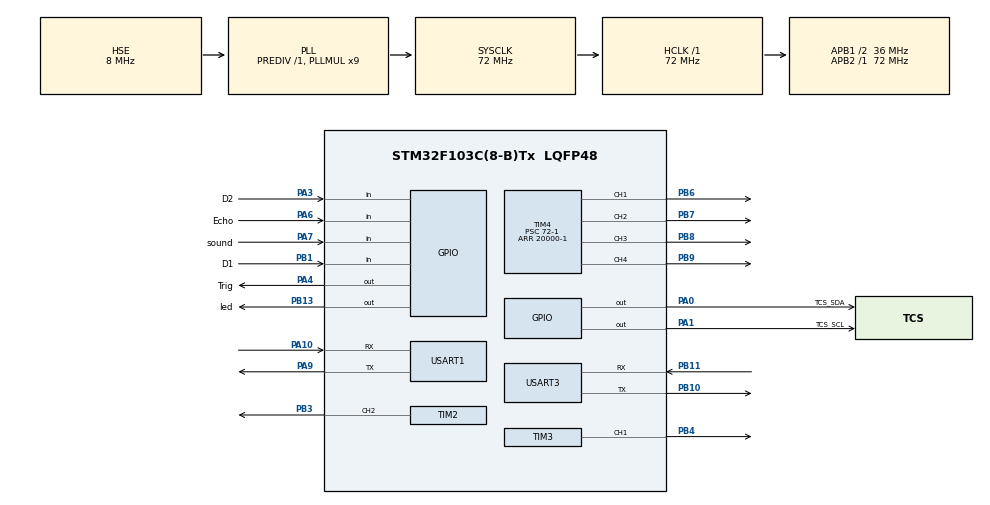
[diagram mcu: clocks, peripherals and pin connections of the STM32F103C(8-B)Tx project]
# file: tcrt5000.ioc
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Mcu.Family=STM32F1
Mcu.Name=STM32F103C(8-B)Tx
Mcu.Package=LQFP48
NVIC.PriorityGroup=NVIC_PRIORITYGROUP_4
NVIC.USART1_IRQn=true\:0\:0\:false\:false\:true\:true\:true
NVIC.USART3_IRQn=true\:0\:0\:false\:false\:true\:true\:true
PA0-WKUP.GPIO_Label=TCS_SDA
PA0-WKUP.GPIO_ModeDefaultOutputPP=GPIO_MODE_OUTPUT_PP
PA0-WKUP.GPIO_PuPd=GPIO_NOPULL
PA0-WKUP.GPIO_Speed=GPIO_SPEED_FREQ_HIGH
PA0-WKUP.PinState=GPIO_PIN_SET
PA0-WKUP.Signal=GPIO_Output
PA1.GPIO_Label=TCS_SCL
PA1.GPIO_ModeDefaultOutputPP=GPIO_MODE_OUTPUT_PP
PA1.GPIO_PuPd=GPIO_NOPULL
PA1.GPIO_Speed=GPIO_SPEED_FREQ_HIGH
PA1.PinState=GPIO_PIN_SET
PA1.Signal=GPIO_Output
PA10.Mode=Asynchronous
PA10.Signal=USART1_RX
PA3.GPIO_Label=D2
PA3.Signal=GPIO_Input
PA4.GPIO_Label=Trig
PA4.GPIO_PuPd=GPIO_PULLUP
PA4.Signal=GPIO_Output
PA6.GPIO_Label=Echo
PA6.Signal=GPIO_Input
PA7.GPIO_Label=sound
PA7.Signal=GPIO_Input
PA9.Mode=Asynchronous
PA9.Signal=USART1_TX
PB1.GPIO_Label=D1
PB1.Signal=GPIO_Input
PB10.Mode=Asynchronous
PB10.Signal=USART3_TX
PB11.Mode=Asynchronous
PB11.Signal=USART3_RX
PB13.GPIO_Label=led
PB13.GPIO_PuPd=GPIO_PULLDOWN
PB13.PinState=GPIO_PIN_SET
PB13.Signal=GPIO_Output
PB3.Signal=S_TIM2_CH2
PB4.Signal=S_TIM3_CH1
PB6.Signal=S_TIM4_CH1
PB7.Signal=S_TIM4_CH2
PB8.Signal=S_TIM4_CH3
PB9.Signal=S_TIM4_CH4
PD0-OSC_IN.Mode=HSE-External-Oscillator
PD0-OSC_IN.Signal=RCC_OSC_IN
PD1-OSC_OUT.Mode=HSE-External-Oscillator
PD1-OSC_OUT.Signal=RCC_OSC_OUT
ProjectManager.HeapSize=0x200
ProjectManager.StackSize=0x400
ProjectManager.TargetToolchain=MDK-ARM V5.27
RCC.AHBFreq_Value=72000000
RCC.APB1CLKDivider=RCC_HCLK_DIV2
RCC.APB1Freq_Value=36000000
RCC.APB1TimFreq_Value=72000000
RCC.APB2Freq_Value=72000000
RCC.APB2TimFreq_Value=72000000
RCC.HCLKFreq_Value=72000000
RCC.PLLMUL=RCC_PLL_MUL9
RCC.PLLSourceVirtual=RCC_PLLSOURCE_HSE
RCC.SYSCLKFreq_VALUE=72000000
RCC.SYSCLKSource=RCC_SYSCLKSOURCE_PLLCLK
RCC.USBFreq_Value=72000000
SH.S_TIM2_CH2.0=TIM2_CH2,PWM Generation2 CH2
SH.S_TIM3_CH1.0=TIM3_CH1,PWM Generation1 CH1
SH.S_TIM4_CH1.0=TIM4_CH1,PWM Generation1 CH1
SH.S_TIM4_CH2.0=TIM4_CH2,PWM Generation2 CH2
SH.S_TIM4_CH3.0=TIM4_CH3,PWM Generation3 CH3
SH.S_TIM4_CH4.0=TIM4_CH4,PWM Generation4 CH4
TIM2.Channel-PWM\ Generation2\ CH2=TIM_CHANNEL_2
TIM2.OC2Preload_PWM=DISABLE
TIM2.OCFastMode_PWM-PWM\ Generation2\ CH2=TIM_OCFAST_ENABLE
TIM2.Period=20000-1
TIM2.Prescaler=72-1
TIM2.Pulse-PWM\ Generation2\ CH2=1500
TIM3.Channel-PWM\ Generation1\ CH1=TIM_CHANNEL_1
TIM3.OC1Preload_PWM=DISABLE
TIM3.OCFastMode_PWM-PWM\ Generation1\ CH1=TIM_OCFAST_ENABLE
TIM3.Period=20000-1
TIM3.Prescaler=72-1
TIM3.Pulse-PWM\ Generation1\ CH1=1500
TIM4.Channel-PWM\ Generation1\ CH1=TIM_CHANNEL_1
TIM4.Channel-PWM\ Generation2\ CH2=TIM_CHANNEL_2
TIM4.Channel-PWM\ Generation3\ CH3=TIM_CHANNEL_3
TIM4.Channel-PWM\ Generation4\ CH4=TIM_CHANNEL_4
TIM4.OC1Preload_PWM=DISABLE
TIM4.OC2Preload_PWM=DISABLE
TIM4.OC3Preload_PWM=DISABLE
TIM4.OC4Preload_PWM=DISABLE
TIM4.OCFastMode_PWM-PWM\ Generation1\ CH1=TIM_OCFAST_ENABLE
TIM4.OCFastMode_PWM-PWM\ Generation2\ CH2=TIM_OCFAST_ENABLE
TIM4.OCFastMode_PWM-PWM\ Generation3\ CH3=TIM_OCFAST_ENABLE
TIM4.OCFastMode_PWM-PWM\ Generation4\ CH4=TIM_OCFAST_ENABLE
TIM4.Period=20000-1
TIM4.Prescaler=72-1
TIM4.Pulse-PWM\ Generation1\ CH1=1500
TIM4.Pulse-PWM\ Generation2\ CH2=1500
TIM4.Pulse-PWM\ Generation3\ CH3=1500
TIM4.Pulse-PWM\ Generation4\ CH4=1500
USART1.VirtualMode=VM_ASYNC
USART3.VirtualMode=VM_ASYNC
VP_SYS_VS_ND.Mode=No_Debug
board=custom

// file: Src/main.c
/* USER CODE BEGIN Header */
/**
  ******************************************************************************
  * @file           : main.c
  * @brief          : Main program body
  ******************************************************************************
  * @attention
  *
  * <h2><center>&copy; Copyright (c) 2021 STMicroelectronics.
  * All rights reserved.</center></h2>
  *
  * This software component is licensed by ST under BSD 3-Clause license,
  * the "License"; You may not use this file except in compliance with the
  * License. You may obtain a copy of the License at:
  *                        opensource.org/licenses/BSD-3-Clause
  *
  ******************************************************************************
  */
/* USER CODE END Header */
#include "main.h"
#include "tim.h"
#include "usart.h"
#include "gpio.h"

/* USER CODE BEGIN Includes */
#include "stdio.h"
#include "motor.h"
#include "robot-arm.h"
#include "string.h"
#include "sensor.h"
/* USER CODE END Includes */

void SystemClock_Config(void);

/* USER CODE BEGIN 0 */

int fputc(int ch, FILE *stream)    //重写fputc函数
{
 /*
    huart1是工具生成代码定义的UART1结构体，
    如果以后要使用其他串口打印，只需要把这个结构体改成其他UART结构体。
	使用HAL_UART_Transmit时，可以直接调用，使用IT,DMA,VCP方式时，需要对返回值判断，不然会出现只能发送一个字节的情况。
	安全起见，建议全部使用while判断。
*/
	//HAL_UART_Transmit(&huart1, (unsigned char *)&ch, 1,1000);//轮询阻塞方式
	while(HAL_UART_Transmit_IT(&huart1, (unsigned char *)&ch, 1)!=HAL_OK){};//中断方式
    return 1;
}
int fgetc(FILE *f)
{
  uint8_t ch =0;
	//HAL_UART_Receive(&huart1, &ch, 1, 0xffff);//轮询阻塞方式
	while(HAL_UART_Receive_IT(&huart1, &ch, 1)!=HAL_OK){};
  return ch;
}

/* USER CODE END 0 */

int main(void)
{

  /* MCU Configuration--------------------------------------------------------*/

  /* Reset of all peripherals, Initializes the Flash interface and the Systick. */
  HAL_Init();

  /* Configure the system clock */
  SystemClock_Config();

  /* Initialize all configured peripherals */
  MX_GPIO_Init();
  MX_TIM2_Init();
  MX_USART1_UART_Init();
  MX_USART3_UART_Init();
  MX_TIM3_Init();
  MX_TIM4_Init();
  /* USER CODE BEGIN 2 */
	motor_init();
	arm_init();
	TCS34725_Init(TCS34725_INTEGRATIONTIME_700MS,TCS34725_GAIN_1X);
	HAL_Delay(2000);
	arm_set(arm_begin);
	HAL_GPIO_WritePin(led_GPIO_Port,led_Pin,GPIO_PIN_RESET);
  /* USER CODE END 2 */

  /* Infinite loop */
  /* USER CODE BEGIN WHILE */
  char input;
  while (1)
  {
    /* USER CODE END WHILE */

    /* USER CODE BEGIN 3 */
	  input=get_cmd();
	  if(input){
		  switch(input)
		  {
			  case '0':get_rad();usart_send_str(&huart3,(unsigned char *)"end get_rad\r\n");break;
			  case 'A' :get_csb_value();break;
			  case 'B':
				  usart_send_str(&huart3,(unsigned char *)"car go\r\n");
				  printf("car go\r\n");
				  motor_set(1000,1000);
			  break;
			  case 'C':
				  usart_send_str(&huart3,(unsigned char *)"car back\r\n");
			  printf("car back\r\n");
			  motor_set(-1000,-1000);
			  break;
			  case 'D':
				  usart_send_str(&huart3,(unsigned char *)"car left\r\n");
			  printf("car left\r\n");
			  motor_set(1000,0);
			  break;
			  case 'E':
				  usart_send_str(&huart3,(unsigned char *)"car right\r\n");
			  printf("car right\r\n");
			  motor_set(0,1000);
			  break;
			  case 'F':
				  usart_send_str(&huart3,(unsigned char *)"car stop\r\n");
			  printf("car stop\r\n");
			  motor_set(0,0);
			  break;
			  case 'G':
				arm_set(arm_doing);
				HAL_Delay(1000);
				arm_set(arm_clamp);
				HAL_Delay(500);
				int arm_clamped[6];
				memcpy(arm_clamped,arm_clamp,sizeof(arm_clamp));
				arm_clamped[5]+=68;
				arm_set(arm_clamped);
				HAL_Delay(1000);
				usart_send_str(&huart3,(unsigned char *)"夹住物体\r\n");
				memcpy(arm_clamped,arm_doing,sizeof(arm_clamp));
			  	arm_clamped[5]+=68;
				arm_set(arm_clamped);
			  break;
			  case 'H':while(1){hcsr_task();};break;
			  case 'I':color_task();break;
			  case 'J':while(xunji_task());break;
			  default:usart_send_str(&huart3,(unsigned char *)"error\r\n");break;
	  }
	  input=NULL;
  }
  }
  /* USER CODE END 3 */
}

void SystemClock_Config(void)
{
  RCC_OscInitTypeDef RCC_OscInitStruct = {0};
  RCC_ClkInitTypeDef RCC_ClkInitStruct = {0};

  /** Initializes the RCC Oscillators according to the specified parameters
  * in the RCC_OscInitTypeDef structure.
  */
  RCC_OscInitStruct.OscillatorType = RCC_OSCILLATORTYPE_HSE;
  RCC_OscInitStruct.HSEState = RCC_HSE_ON;
  RCC_OscInitStruct.HSEPredivValue = RCC_HSE_PREDIV_DIV1;
  RCC_OscInitStruct.HSIState = RCC_HSI_ON;
  RCC_OscInitStruct.PLL.PLLState = RCC_PLL_ON;
  RCC_OscInitStruct.PLL.PLLSource = RCC_PLLSOURCE_HSE;
  RCC_OscInitStruct.PLL.PLLMUL = RCC_PLL_MUL9;
  if (HAL_RCC_OscConfig(&RCC_OscInitStruct) != HAL_OK)
  {
    Error_Handler();
  }
  /** Initializes the CPU, AHB and APB buses clocks
  */
  RCC_ClkInitStruct.ClockType = RCC_CLOCKTYPE_HCLK|RCC_CLOCKTYPE_SYSCLK
                              |RCC_CLOCKTYPE_PCLK1|RCC_CLOCKTYPE_PCLK2;
  RCC_ClkInitStruct.SYSCLKSource = RCC_SYSCLKSOURCE_PLLCLK;
  RCC_ClkInitStruct.AHBCLKDivider = RCC_SYSCLK_DIV1;
  RCC_ClkInitStruct.APB1CLKDivider = RCC_HCLK_DIV2;
  RCC_ClkInitStruct.APB2CLKDivider = RCC_HCLK_DIV1;

  if (HAL_RCC_ClockConfig(&RCC_ClkInitStruct, FLASH_LATENCY_2) != HAL_OK)
  {
    Error_Handler();
  }
}

void Error_Handler(void)
{
  __disable_irq();
  while (1)
  {
  }
}

/************************ (C) COPYRIGHT STMicroelectronics *****END OF FILE****/
